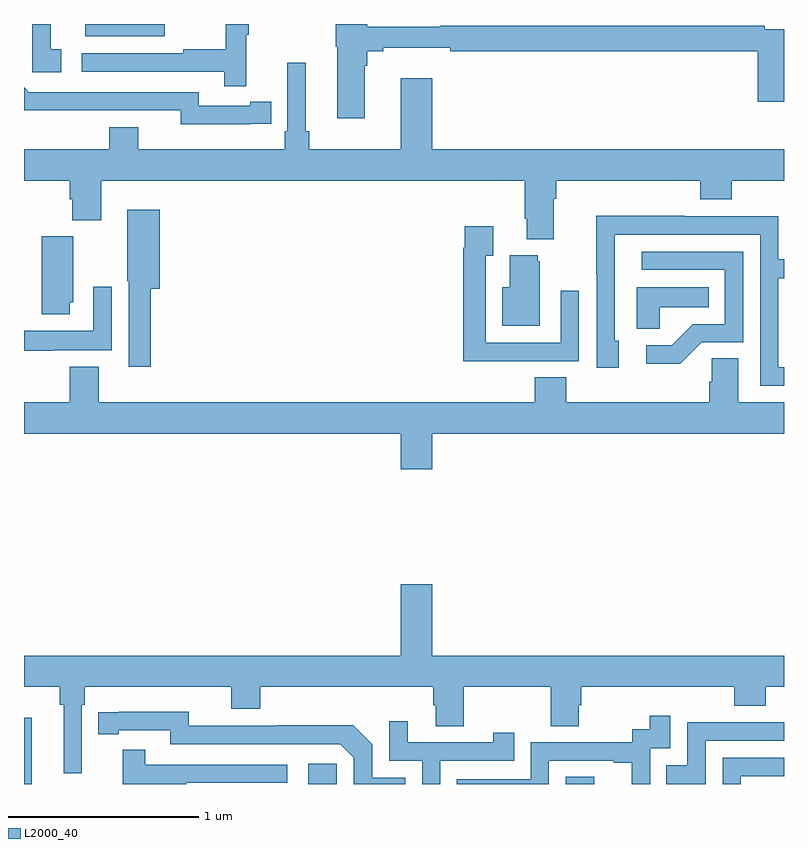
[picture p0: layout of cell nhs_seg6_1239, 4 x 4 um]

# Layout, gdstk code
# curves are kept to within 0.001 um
import gdstk
lib = gdstk.Library(unit=1e-6, precision=1e-09)
def R(c, l, rs):  # rectangles x0, y0, x1, y1
    for r in rs: c.add(gdstk.rectangle(r[:2], r[2:], *l))
def P(c, l, *ps):  # polygons
    for p in ps: c.add(gdstk.Polygon(p, *l))
L2000_40 = (2000, 40)

nhs_seg6_1239 = lib.new_cell('nhs_seg6_1239')
R(nhs_seg6_1239, L2000_40, [(187,937.5,187.042,937.849), (188.496,937.5,188.646,937.606), (189.852,937.5,190,937.537), (187.322,941.435,187.741,941.5)])
P(nhs_seg6_1239, L2000_40, [(188.794,941.279),(188.807,941.279),(188.807,941.356),(188.89,941.356),(188.89,941.375),(189.244,941.375),(189.244,941.356),(190.862,941.356),(190.862,941.091),(191,941.091),(191,941.472),(190.898,941.472),(190.898,941.492),(189.19,941.492),(189.19,941.485),(188.807,941.485),(188.807,941.5),(188.641,941.5),(188.641,941.379),(188.648,941.379),(188.648,941.004),(188.794,941.004)],
  [(188.171,941.443),(188.182,941.443),(188.182,941.5),(188.061,941.5),(188.061,941.366),(187.837,941.366),(187.837,941.346),(187.305,941.346),(187.305,941.25),(188.053,941.25),(188.053,941.172),(188.171,941.172)],
  [(187.195,941.367),(187.142,941.367),(187.142,941.5),(187.044,941.5),(187.044,941.247),(187.195,941.247)],
  [(188.482,940.936),(188.482,941.296),(188.385,941.296),(188.385,940.936),(188.372,940.936),(188.372,940.84),(187.6,940.84),(187.6,940.957),(187.448,940.957),(187.448,940.84),(187,940.84),(187,940.676),(187.241,940.676),(187.241,940.577),(187.253,940.577),(187.253,940.468),(187.406,940.468),(187.406,940.676),(189.635,940.676),(189.635,940.474),(189.647,940.474),(189.647,940.367),(189.787,940.367),(189.787,940.58),(189.8,940.58),(189.8,940.676),(190.559,940.676),(190.559,940.577),(190.724,940.577),(190.724,940.676),(191,940.676),(191,940.84),(189.148,940.84),(189.148,941.215),(188.984,941.215),(188.984,940.84),(188.501,940.84),(188.501,940.936)],
  [(188.192,940.974),(188.3,940.974),(188.3,941.09),(188.192,941.09),(188.192,941.07),(187.92,941.07),(187.92,941.142),(187.026,941.142),(187,941.168),(187,941.045),(187.824,941.046),(187.824,940.973)],
  [(187.667,940.106),(187.715,940.106),(187.715,940.522),(187.544,940.522),(187.544,940.146),(187.551,940.146),(187.551,939.696),(187.667,939.696)],
  [(191,939.693),(190.971,939.693),(190.971,940.162),(191,940.162),(191,940.263),(190.971,940.263),(190.971,940.488),(190.475,940.488),(190.475,940.49),(190.012,940.49),(190.012,940.183),(190.014,940.183),(190.014,939.69),(190.129,939.69),(190.129,939.834),(190.11,939.834),(190.11,940.392),(190.875,940.392),(190.875,939.597),(191,939.597)],
  [(189.605,939.726),(189.921,939.726),(189.921,940.096),(189.825,940.096),(189.825,939.822),(189.429,939.822),(189.429,940.279),(189.469,940.279),(189.469,940.435),(189.321,940.435),(189.321,940.322),(189.313,940.322),(189.313,939.725),(189.605,939.725)],
  [(187.24,940.035),(187.258,940.035),(187.258,940.383),(187.094,940.383),(187.094,939.972),(187.24,939.972)],
  [(190.566,939.825),(190.785,939.825),(190.785,940.302),(190.251,940.302),(190.251,940.206),(190.689,940.206),(190.689,939.921),(190.52,939.921),(190.409,939.81),(190.275,939.81),(190.275,939.713),(190.453,939.713)],
  [(189.715,940.251),(189.704,940.251),(189.704,940.282),(189.557,940.282),(189.557,940.114),(189.518,940.114),(189.518,939.911),(189.715,939.911)],
  [(187.157,939.782),(187.461,939.782),(187.461,940.117),(187.365,940.117),(187.365,939.886),(187,939.886),(187,939.78),(187.157,939.78)],
  [(190.347,940.01),(190.604,940.01),(190.604,940.114),(190.226,940.114),(190.226,939.895),(190.347,939.895)],
  [(189.148,939.344),(191,939.344),(191,939.508),(190.759,939.508),(190.759,939.74),(190.62,939.74),(190.62,939.617),(190.607,939.617),(190.607,939.508),(189.854,939.508),(189.854,939.641),(189.689,939.641),(189.689,939.508),(187.393,939.508),(187.393,939.697),(187.241,939.697),(187.241,939.508),(187,939.508),(187,939.344),(188.984,939.344),(188.984,939.156),(189.148,939.156)],
  [(187,938.012),(187.189,938.012),(187.189,937.916),(187.208,937.916),(187.208,937.557),(187.305,937.557),(187.305,937.916),(187.319,937.916),(187.319,938.012),(188.09,938.012),(188.09,937.895),(188.243,937.895),(188.243,938.012),(189.155,938.012),(189.155,937.914),(189.167,937.914),(189.167,937.804),(189.315,937.804),(189.315,938.012),(189.772,938.012),(189.772,937.804),(189.919,937.804),(189.919,937.914),(189.932,937.914),(189.932,938.012),(190.739,938.012),(190.739,937.913),(190.904,937.913),(190.904,938.012),(191,938.012),(191,938.176),(189.148,938.176),(189.148,938.551),(188.984,938.551),(188.984,938.176),(187,938.176)],
  [(189.006,937.533),(188.832,937.533),(188.832,937.71),(188.734,937.808),(188.326,937.808),(188.326,937.806),(187.866,937.806),(187.866,937.879),(187.39,937.878),(187.39,937.762),(187.498,937.762),(187.498,937.782),(187.77,937.782),(187.77,937.71),(188.664,937.71),(188.736,937.638),(188.736,937.5),(189.006,937.5)],
  [(189.762,937.623),(190.103,937.623),(190.103,937.611),(190.199,937.611),(190.199,937.5),(190.296,937.5),(190.296,937.689),(190.401,937.689),(190.401,937.858),(190.293,937.858),(190.293,937.788),(190.2,937.788),(190.2,937.719),(189.666,937.719),(189.666,937.524),(189.277,937.524),(189.277,937.5),(189.762,937.5)],
  [(189.192,937.623),(189.581,937.623),(189.581,937.771),(189.47,937.771),(189.47,937.719),(189.019,937.719),(189.019,937.831),(188.922,937.831),(188.922,937.623),(189.096,937.623),(189.096,937.5),(189.192,937.5)],
  [(190.587,937.728),(191,937.728),(191,937.826),(190.987,937.826),(190.987,937.824),(190.491,937.824),(190.491,937.599),(190.381,937.599),(190.381,937.5),(190.587,937.5)],
  [(187.853,937.506),(188.386,937.506),(188.386,937.602),(187.637,937.602),(187.637,937.681),(187.52,937.681),(187.52,937.5),(187.853,937.5)],
  [(190.773,937.542),(191,937.542),(191,937.638),(190.677,937.638),(190.677,937.5),(190.773,937.5)])

lib.write_gds('nhs_seg6_1239.gds')
